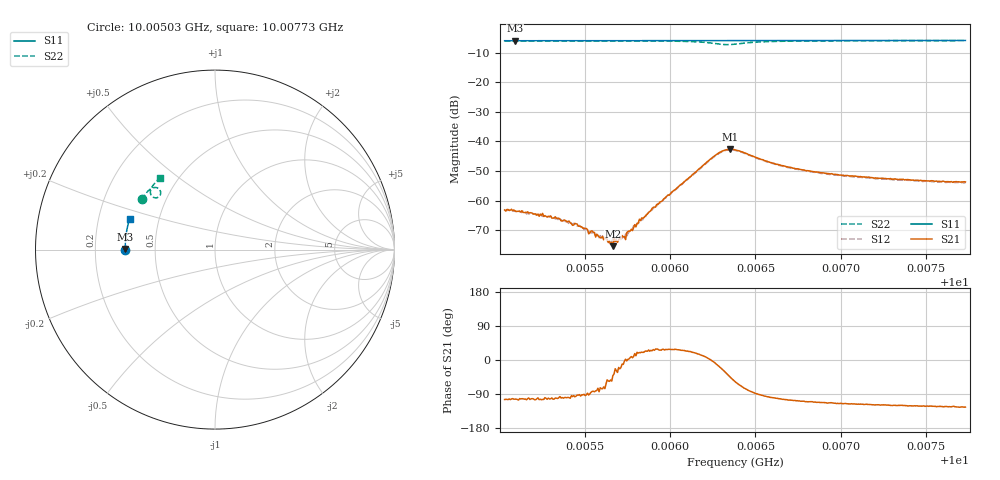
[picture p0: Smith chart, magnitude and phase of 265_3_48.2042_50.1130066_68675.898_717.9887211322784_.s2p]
#  HZ  S  RI  R  50.00
! Rohde & Schwarz Vector Network Analyzer
! Rohde-Schwarz,ZNB20-2Port,1311601062101988,3.16
! Created: UTC 3/20/2024, 11:47:56 AM
! freq[Hz]  re:S11  im:S11  re:S21  im:S21  re:S12  im:S12  re:S22  im:S22
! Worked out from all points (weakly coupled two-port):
!   401 points, 10.00503 GHz to 10.00773 GHz, reference 50 ohm
!   highest |S21| = -42.63 dB at 10.00635 GHz (marker M1); lowest = -75.3 dB at 10.00566 GHz (marker M2)
!   lowest |S11| = -6.0 dB at 10.00509 GHz (marker M3), VSWR 3.00, Z = 16.7 + j0.16 ohm
!   |S11| at or under -10 dB: nowhere
!   |S22| runs from -7.3 to -6.0 dB; largest |S21 - S12| = 0.00043
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1.0005029e10  -0.4997 -0.000337  -0.000173 -0.000677  -0.000116 -0.00068  -0.4083 0.2797
1.000509e10  -0.4996 0.0036  -0.000158 -0.000657  -0.000122 -0.000653  -0.4059 0.2832
1.000534e10  -0.4998 0.0198  -0.000101 -0.000498  -6.76e-05 -0.000491  -0.3959 0.298
1.0005482e10  -0.4997 0.029  -1.13e-05 -0.000361  1.12e-05 -0.000361  -0.3899 0.3067
1.0005529e10  -0.4996 0.032  3.37e-06 -0.000287  2.73e-05 -0.000298  -0.3877 0.3094
1.0005617e10  -0.4995 0.038  5.72e-05 -0.000221  0.000136 -0.000199  -0.3833 0.3149
1.0005644e10  -0.4994 0.0395  0.000117 -0.000176  0.00012 -0.000152  -0.382 0.3165
1.0005651e10  -0.4992 0.0401  0.00011 -0.000145  0.000148 -0.000157  -0.3815 0.317
1.0005664e10  -0.4992 0.0408  0.000129 -0.000112  0.000176 -0.000148  -0.381 0.3178
1.0005725e10  -0.499 0.0448  0.000239 -4.9e-05  0.000249 -1.12e-05  -0.3774 0.3216
1.0005746e10  -0.499 0.0461  0.000288 -1.23e-05  0.000247 3.57e-06  -0.3763 0.323
1.000582e10  -0.4986 0.0509  0.000458 0.000162  0.000417 0.000141  -0.3717 0.3277
1.0005935e10  -0.4981 0.0584  0.00081 0.000401  0.000764 0.000473  -0.3625 0.3354
1.0006266e10  -0.4954 0.0797  0.00579 -0.000886  0.00571 -0.000599  -0.3049 0.3278
1.0006313e10  -0.4949 0.0824  0.00622 -0.00324  0.00623 -0.00289  -0.3042 0.3065
1.0006354e10  -0.4944 0.0849  0.00516 -0.0053  0.00529 -0.00491  -0.317 0.2917
1.0006381e10  -0.4942 0.0864  0.00397 -0.00602  0.0042 -0.0057  -0.3289 0.2884
1.000661e10  -0.4926 0.101  -0.00075 -0.0042  -0.000567 -0.00414  -0.3597 0.3276
1.0006833e10  -0.49 0.1153  -0.00107 -0.00293  -0.000949 -0.00291  -0.35 0.3507
1.0007023e10  -0.4873 0.1273  -0.00112 -0.00239  -0.00101 -0.00239  -0.3405 0.364
1.0007286e10  -0.4832 0.1438  -0.00115 -0.00204  -0.00102 -0.00205  -0.3271 0.3789
1.0007732e10  -0.4752 0.1715  -0.00117 -0.00172  -0.00103 -0.00173  -0.3043 0.4004
